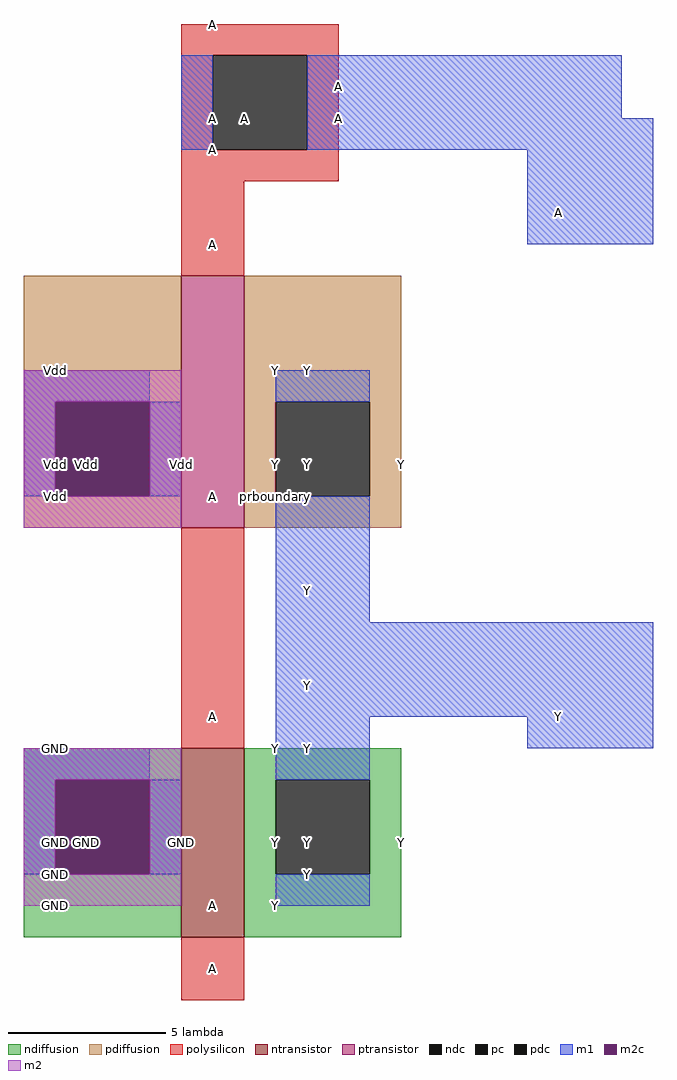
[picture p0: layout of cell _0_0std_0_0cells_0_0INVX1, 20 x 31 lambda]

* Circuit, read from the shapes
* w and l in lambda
.subckt _0_0std_0_0cells_0_0INVX1 Y A
M1 Y A GND VSUBS nfet w=6 l=2
M2 Y A Vdd NWELL pfet w=8 l=2
.ends

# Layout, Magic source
magic
tech sky130l
<< ndiffusion >>
rect 8 11 13 12
rect 8 8 9 11
rect 12 8 13 11
rect 8 6 13 8
rect 15 11 20 12
rect 15 8 16 11
rect 19 8 20 11
rect 15 6 20 8
<< ndc >>
rect 9 8 12 11
rect 16 8 19 11
<< ntransistor >>
rect 13 6 15 12
<< pdiffusion >>
rect 8 23 13 27
rect 8 20 9 23
rect 12 20 13 23
rect 8 19 13 20
rect 15 23 20 27
rect 15 20 16 23
rect 19 20 20 23
rect 15 19 20 20
<< pdc >>
rect 9 20 12 23
rect 16 20 19 23
<< ptransistor >>
rect 13 19 15 27
<< polysilicon >>
rect 13 34 18 35
rect 13 31 14 34
rect 17 31 18 34
rect 13 30 18 31
rect 13 27 15 30
rect 13 12 15 19
rect 13 4 15 6
<< pc >>
rect 14 31 17 34
<< m1 >>
rect 13 31 14 34
rect 17 32 27 34
rect 17 31 28 32
rect 24 28 28 31
rect 8 23 12 24
rect 16 23 19 24
rect 8 20 9 23
rect 12 20 13 23
rect 16 16 19 20
rect 16 13 28 16
rect 8 11 12 12
rect 16 11 19 13
rect 24 12 28 13
rect 8 8 9 11
rect 12 8 13 11
rect 16 7 19 8
<< m2c >>
rect 9 20 12 23
rect 9 8 12 11
<< m2 >>
rect 8 23 13 24
rect 8 20 9 23
rect 12 20 13 23
rect 8 19 13 20
rect 8 11 13 12
rect 8 8 9 11
rect 12 8 13 11
rect 8 7 13 8
<< labels >>
rlabel space 0 0 32 40 6 prboundary
rlabel ndiffusion 20 9 20 9 3 Y
rlabel pdiffusion 20 21 20 21 3 Y
rlabel ndiffusion 16 7 16 7 3 Y
rlabel ndiffusion 16 9 16 9 3 Y
rlabel ndiffusion 16 12 16 12 3 Y
rlabel pdiffusion 16 20 16 20 3 Y
rlabel pdiffusion 16 21 16 21 3 Y
rlabel pdiffusion 16 24 16 24 3 Y
rlabel polysilicon 14 5 14 5 3 A
rlabel ntransistor 14 7 14 7 3 A
rlabel polysilicon 14 13 14 13 3 A
rlabel ptransistor 14 20 14 20 3 A
rlabel polysilicon 14 28 14 28 3 A
rlabel polysilicon 14 31 14 31 3 A
rlabel polysilicon 14 35 14 35 3 A
rlabel ndiffusion 9 7 9 7 3 GND
rlabel m1 25 13 25 13 3 Y
port 1 e
rlabel m1 25 29 25 29 3 A
port 2 e
rlabel ndc 17 9 17 9 3 Y
port 1 e
rlabel m1 17 12 17 12 3 Y
port 1 e
rlabel m1 17 14 17 14 3 Y
port 1 e
rlabel m1 17 17 17 17 3 Y
port 1 e
rlabel pdc 17 21 17 21 3 Y
port 1 e
rlabel m1 17 24 17 24 3 Y
port 1 e
rlabel m1 18 32 18 32 3 A
port 2 e
rlabel m1 18 33 18 33 3 A
port 2 e
rlabel pc 15 32 15 32 3 A
port 2 e
rlabel m1 17 8 17 8 3 Y
port 1 e
rlabel m1 14 32 14 32 3 A
port 2 e
rlabel m2 13 9 13 9 3 GND
rlabel m2 13 21 13 21 3 Vdd
rlabel m2c 10 9 10 9 3 GND
rlabel m2c 10 21 10 21 3 Vdd
rlabel m2 9 8 9 8 3 GND
rlabel m2 9 9 9 9 3 GND
rlabel m2 9 12 9 12 3 GND
rlabel m2 9 20 9 20 3 Vdd
rlabel m2 9 21 9 21 3 Vdd
rlabel m2 9 24 9 24 3 Vdd
<< end >>
